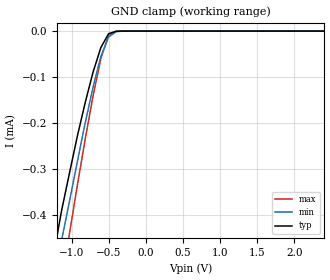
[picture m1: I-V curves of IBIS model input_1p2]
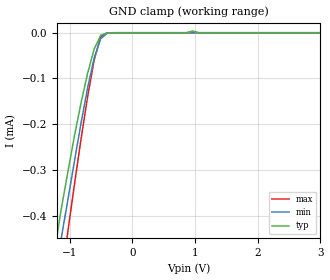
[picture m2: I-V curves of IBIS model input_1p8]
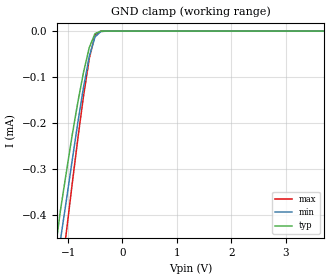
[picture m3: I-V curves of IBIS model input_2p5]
| Texas Instruments Incorporated
| SN74LXC8T245-Q1 Automotive 8-Bit Dual Supply Voltage Translator
| with 3-State outputs and Schmitt-trigger Inputs
[IBIS Ver]   4.1
[File name]   sn74lxc8t245-q1.ibs
[File Rev]   1.0
[Date]   04/24/2019
[Source]
| Texas Instruments Incorporated.
| Analog-eLab Design Center, HPA
| 12500 TI Blvd
| Dallas, TX -75243
[Notes]   Revision History:
| Rev 1.0: 09/01/2020
| - Initial version of the model
| - Model generated from simulations in SPECTRE
| - C_comp although listed in numerical order of value are
|   obtained from varying PVT conditions. For PVT conditions for
|   each specific value refer the buffer description under
|   respective [Model]. IBIS model user is responsible for using
|   appropriate C_comp to simulate for Signal Integrity.
| - Warnings regarding combined Non-monotonicity of various models have been
|   reviewd and considered minor and can be ignored.
| - Model names with a trailing _2p5 contain the model for 2.5V operation.
[Disclaimer]
| This model is designed as an aid for customers of Texas Instruments.
| TI and its licensors and suppliers make no warranties, either expressed
| or implied, with respect to this  model, including the warranties of
| merchantability or fitness for a particular purpose. The model is
| provided solely on an "as is" basis. The entire risk as to its quality
| and performance is with the customer.
| This model is subject to change without notice. Texas Instruments
| Incorporated is not responsible for updating this model.
[Copyright]
 (C) Copyright 2020 Texas Instruments Incorporated.All rights reserved.
|  Component SN74LXC8T245Q1PW 24-Pin TSSOP - PW package
|  Part # SN74LXC8T245QPWRQ1
[Component]   SN74LXC8T245Q1PW
[Manufacturer]   TI
[Package]   |24 TSSOP - PW package
|   typ   min   max
R_pkg   3.900e-02   3.000e-02   4.600e-02
L_pkg   2.685e-09   2.367e-09   3.177e-09
C_pkg   3.200e-13   2.520e-13   4.340e-13
[Pin]   signal_name   model_name   R_pin   L_pin   C_pin
1   VCCA   power   3.700e-02   3.153e-09   4.340e-13
2   DIR   input   3.400e-02   2.629e-09   3.410e-13
3   A1   I/O   3.200e-02   2.860e-09   3.470e-13
4   A2   I/O   4.200e-02   2.741e-09   2.900e-13
5   A3   I/O   4.600e-02   2.600e-09   2.620e-13
6   A4   I/O   4.300e-02   2.414e-09   2.660e-13
7   A5   I/O   4.200e-02   2.367e-09   2.620e-13
8   A6   I/O   4.400e-02   2.461e-09   2.520e-13
9   A7   I/O   4.200e-02   2.543e-09   2.740e-13
10   A8   I/O   3.000e-02   2.616e-09   3.320e-13
11   GND   gnd   3.700e-02   2.670e-09   3.460e-13
12   GND   gnd   3.900e-02   3.177e-09   4.330e-13
13   GND   gnd   3.700e-02   3.111e-09   4.310e-13
14   B8   I/O   3.700e-02   2.656e-09   3.450e-13
15   B7   I/O   3.100e-02   2.739e-09   3.400e-13
16   B6   I/O   4.200e-02   2.649e-09   2.820e-13
17   B5   I/O   4.600e-02   2.532e-09   2.570e-13
18   B4   I/O   4.400e-02   2.425e-09   2.660e-13
19   B3   I/O   4.400e-02   2.425e-09   2.660e-13
20   B2   I/O   4.600e-02   2.532e-09   2.570e-13
21   B1   I/O   4.200e-02   2.648e-09   2.820e-13
22   NOE   input   3.100e-02   2.738e-09   3.390e-13
23   VCCB   power   3.600e-02   2.653e-09   3.440e-13
24   VCCB   power   3.700e-02   3.110e-09   4.310e-13
|  Component SN74LXC8T245Q1RHL 24-Pin VQFN - RHL package
|  Part # SN74LXC8T245QRHLRQ1
[Component]   SN74LXC8T245Q1RHL
[Manufacturer]   TI
[Package]   |24 VQFN - RHL package
|   typ   min   max
R_pkg   3.700e-02   2.500e-02   5.300e-02
L_pkg   8.060e-10   5.310e-10   1.139e-09
C_pkg   1.880e-13   5.700e-14   3.100e-13
[Pin]   signal_name   model_name   R_pin   L_pin   C_pin
1   VCCA   power   4.700e-02   1.028e-09   3.100e-13
2   DIR   input   5.300e-02   1.139e-09   2.800e-13
3   A1   I/O   3.400e-02   7.350e-10   2.480e-13
4   A2   I/O   3.300e-02   7.260e-10   2.460e-13
5   A3   I/O   3.200e-02   6.830e-10   2.620e-13
6   A4   I/O   3.000e-02   6.550e-10   2.410e-13
7   A5   I/O   3.000e-02   6.580e-10   2.400e-13
8   A6   I/O   3.100e-02   6.770e-10   2.330e-13
9   A7   I/O   3.500e-02   7.590e-10   2.490e-13
10   A8   I/O   3.700e-02   7.990e-10   2.540e-13
11   GND   gnd   4.500e-02   9.840e-10   2.710e-13
12   GND   gnd   4.500e-02   9.870e-10   2.580e-13
13   GND   gnd   4.100e-02   8.860e-10   2.340e-13
14   B8   I/O   4.700e-02   1.014e-09   2.510e-13
15   B7   I/O   3.600e-02   7.740e-10   2.390e-13
16   B6   I/O   3.600e-02   7.870e-10   2.540e-13
17   B5   I/O   3.200e-02   7.070e-10   2.350e-13
18   B4   I/O   2.900e-02   6.430e-10   2.300e-13
19   B3   I/O   3.000e-02   6.450e-10   2.300e-13
20   B2   I/O   3.300e-02   7.100e-10   2.360e-13
21   B1   I/O   3.800e-02   8.150e-10   2.570e-13
22   NOE   input   3.600e-02   7.750e-10   2.390e-13
23   VCCB   power   4.700e-02   1.015e-09   2.510e-13
24   VCCB   power   4.100e-02   8.850e-10   2.360e-13
|   Model Selectors
[Model Selector] input
input_1p2   1.2V   digital input
input_1p8   1.8V   digital input
input_2p5   2.5V   digital input
input_3p3   3.3V   digital input
input_5p0   5.0V   digital input
[Model Selector] I/O
io_1p2   1.2V   Vcc
io_1p8   1.8V   Vcc
io_2p5   2.5V   Vcc
io_3p3   3.3V   Vcc
io_5p0   5.0V   Vcc
| Models and submodels in the file (10): input_1p2 (Input), input_1p8 (Input), input_2p5 (Input), input_3p3 (Input), input_5p0 (Input), io_1p2 (I/O), io_1p8 (I/O), io_2p5 (I/O), io_3p3 (I/O), io_5p0 (I/O)
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|   input_1p2 Model
[Model]   input_1p2
Model_type   Input
Vinl = 0.2
Vinh = 0.9
|   typ   min   max
C_comp   0.119pF   0.105pF   0.126pF
[Voltage Range]   1.2   1.08   1.32
|Junction Temperature
[Temperature Range]   25   125   -40
[GND Clamp Reference]   0   0   0
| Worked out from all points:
|   GND clamp passes 1 mA (typ) near -1.81 V on its own axis
[GND Clamp]
|   Voltage   I(typ)   I(min)   I(max)
-2.5V     -1.66mA    -1.64mA    -2.09mA
-1.24V    -478uA     -541uA     -650uA
-1.14V    -389uA     -453uA     -542uA
-1.03V    -305uA     -366uA     -435uA
-925mV    -226uA     -281uA     -332uA
-820mV    -154uA     -198uA     -233uA
-715mV    -88.7uA    -121uA     -140uA
-610mV    -35.6uA    -54.9uA    -59.7uA
-505mV    -5.5uA     -12.7uA    -8.49uA
-400mV    -210nA     -1.13uA    -141nA
8V        3.62nA     3.43nA     4.23nA
|   input_1p8 Model
[Model]   input_1p8
Model_type   Input
Vinl = 0.7
Vinh = 1.1
|   typ   min   max
C_comp   3.13pF   2.65pF   3.82pF
| Where Nom  PVT is Nominal Process, 2.25V, 27C
|   Fast PVT is Strong Process,  2.50V, -55C
|   Slow PVT is Weak Process,   2.0V, 150C
[Voltage Range]   1.8   1.62   1.98
|Junction Temperature
[Temperature Range]   25   125   -40
[GND Clamp Reference]   0   0   0
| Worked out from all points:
|   GND clamp passes 1 mA (typ) near -1.81 V on its own axis
[GND Clamp]
|   Voltage   I(typ)   I(min)   I(max)
-2.5V     -1.66mA    -1.64mA    -2.09mA
-1.24V    -478uA     -541uA     -650uA
-1.14V    -389uA     -453uA     -542uA
-1.03V    -305uA     -366uA     -435uA
-820mV    -154uA     -198uA     -233uA
-715mV    -88.7uA    -121uA     -140uA
-610mV    -35.6uA    -54.9uA    -59.7uA
-505mV    -5.5uA     -12.7uA    -8.49uA
-400mV    -210nA     -1.13uA    -141nA
965mV     3.74uA     3.02nA     4.93nA
1.07V     3.25nA     2.95nA     3.92nA
8V        3.62nA     3.43nA     4.23nA
|   input_2p5 Model
[Model]   input_2p5
Model_type   Input
Vinl = 1.0
Vinh = 1.4
|   typ   min   max
C_comp   3.03pF   2.54pF   3.83pF
| Where Nom  PVT is Nominal Process, 2.25V, 27C
|   Fast PVT is Strong Process,  2.50V, -55C
|   Slow PVT is Weak Process,   2.0V, 150C
[Voltage Range]   2.5   2.25   2.75
|Junction Temperature
[Temperature Range]   25   125   -40
[GND Clamp Reference]   0   0   0
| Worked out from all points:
|   GND clamp passes 1 mA (typ) near -1.81 V on its own axis
[GND Clamp]
|   Voltage   I(typ)   I(min)   I(max)
-2.5V     -1.66mA    -1.64mA    -2.09mA
-1.24V    -478uA     -541uA     -650uA
-1.14V    -389uA     -453uA     -542uA
-1.03V    -305uA     -366uA     -435uA
-925mV    -226uA     -281uA     -332uA
-820mV    -154uA     -198uA     -233uA
-715mV    -88.7uA    -121uA     -140uA
-610mV    -35.6uA    -54.9uA    -59.7uA
-505mV    -5.5uA     -12.7uA    -8.49uA
-400mV    -210nA     -1.14uA    -141nA
8V        3.62nA     3.43nA     4.23nA
